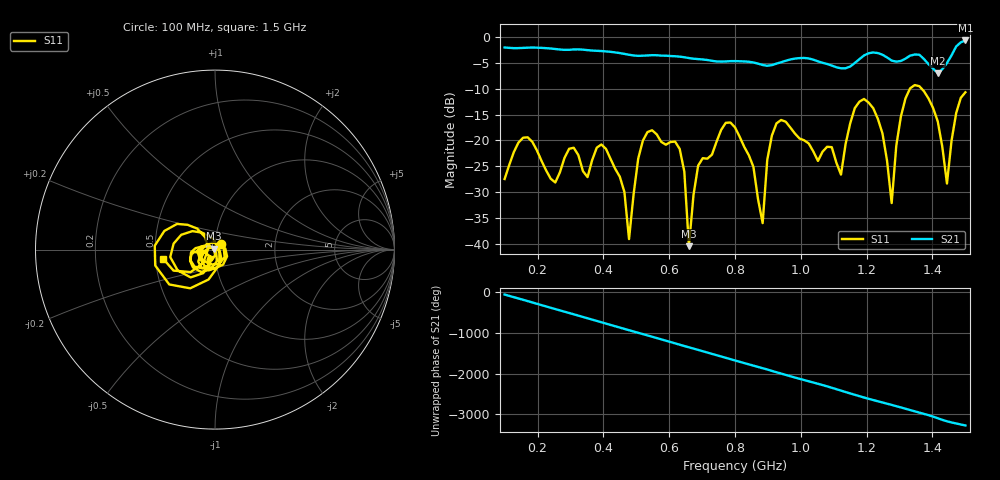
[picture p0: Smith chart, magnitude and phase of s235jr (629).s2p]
! NanoVNA-App
! Date: 2025-09-25 15:09:04
! Start: 100MHz Stop: 1,5GHz Points: 101
! S-Parameter data: F S11 S21 S12 S22
# Hz S RI R 50
!  Frequency  S11_Real  S11_Imag  S21_Real  S21_Imag  S12_Real  S12_Imag  S22_Real  S22_Imag
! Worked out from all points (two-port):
!   101 points, 100 MHz to 1.5 GHz, reference 50 ohm
!   highest |S21| = -0.60 dB at 1.5 GHz (marker M1); lowest = -6.9 dB at 1.416 GHz (marker M2)
!   |S21| within 3 dB of the highest: start of sweep to 599.5 MHz; 1.19 GHz to 1.254 GHz (63.97 MHz wide, 5.23 % of centre) (the widest 2 of 4)
!   lowest |S11| = -40.5 dB at 660 MHz (marker M3), VSWR 1.02, Z = 49.2 + j0.542 ohm
!   |S11| at or under -10 dB: start of sweep to 1.331 GHz; 1.368 GHz to end of sweep
!   S12 and S22 are empty: the file has one direction only
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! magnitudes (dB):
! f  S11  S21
! 100 MHz  -27.5  -2.0
! 156 MHz  -19.5  -2.0
! 338 MHz  -25.9  -2.4
! 408 MHz  -21.6  -2.7
! 478 MHz  -39.1  -3.4
! 520 MHz  -20.0  -3.6
! 576 MHz  -20.3  -3.5
! 632 MHz  -21.6  -3.7
! 660 MHz  -40.5  -4.0
! 688 MHz  -24.9  -4.2
! 800 MHz  -17.5  -4.6
! 884 MHz  -36.0  -5.4
! 926 MHz  -16.7  -5.1
! 1.038 GHz  -22.1  -4.3
! 1.122 GHz  -26.6  -6.0
! 1.192 GHz  -11.9  -3.5
! 1.248 GHz  -18.6  -3.4
! 1.276 GHz  -32.1  -4.5
! 1.332 GHz  -9.9  -3.5
! 1.416 GHz  -16.3  -6.9
! 1.444 GHz  -28.3  -5.0
! 1.5 GHz  -10.7  -0.6
